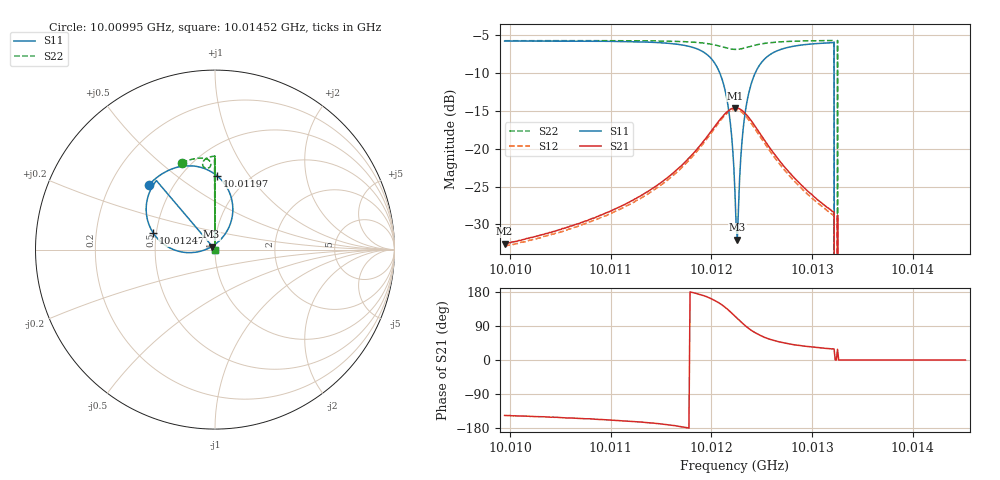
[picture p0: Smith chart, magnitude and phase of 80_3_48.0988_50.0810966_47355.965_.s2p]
#  HZ  S  RI  R  50.00
! Rohde & Schwarz Vector Network Analyzer
! Rohde-Schwarz,ZNB20-2Port,1311601062101988,3.16
! Created: UTC 12/23/2023, 3:42:40 AM
! freq[Hz]  re:S11  im:S11  re:S21  im:S21  re:S12  im:S12  re:S22  im:S22
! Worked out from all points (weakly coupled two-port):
!   401 points, 10.00995 GHz to 10.01452 GHz, reference 50 ohm
!   highest |S21| = -14.59 dB at 10.01223 GHz (marker M1); lowest = -32.6 dB at 10.00995 GHz (marker M2)
!   lowest |S11| = -32.0 dB at 10.01226 GHz (marker M3), VSWR 1.05, Z = 48.1 + j1.6 ohm
!   |S11| at or under -10 dB: 10.01208 GHz to 10.01243 GHz (350.2 kHz wide, 0.0035 % of centre); 10.01322 GHz to end of sweep
!   |S22| runs from - to -5.7 dB; largest |S21 - S12| = 0.0089
!   S11 on the Smith chart (normalised r, x): 10.00995 GHz: 0.37, +0.36; 10.01197 GHz: 0.72, +0.72; 10.01247 GHz: 0.48, +0.10; 10.01452 GHz: 1.00, +0.00
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1.0009947e10  -0.368 0.362  -0.0196 -0.0131  -0.0182 -0.0134  -0.1847 0.4847
1.0010713e10  -0.3122 0.4103  -0.0294 -0.014  -0.0276 -0.0148  -0.1353 0.5013
1.001148e10  -0.2053 0.4601  -0.0572 -0.012  -0.0543 -0.0143  -0.0787 0.5105
1.0011971e10  0.00989 0.4122  -0.1196 0.0319  -0.1176 0.0248  -0.0302 0.4945
1.0012086e10  0.0866 0.3025  -0.1338 0.0806  -0.1344 0.0721  -0.023 0.4767
1.0012154e10  0.0968 0.1887  -0.1244 0.1235  -0.1267 0.1156  -0.0267 0.463
1.00122e10  0.067 0.1035  -0.1036 0.1521  -0.1074 0.1444  -0.0344 0.4555
1.0012234e10  0.0212 0.0462  -0.0804 0.1683  -0.0848 0.1614  -0.0421 0.4527
1.0012257e10  -0.0188 0.0166  -0.0629 0.175  -0.0666 0.1686  -0.0479 0.4525
1.0012303e10  -0.109 -0.0149  -0.0264 0.1776  -0.031 0.1716  -0.0582 0.4561
1.0012337e10  -0.1765 -0.0147  -0.000772 0.1712  -0.00598 0.1655  -0.064 0.4616
1.0012395e10  -0.2675 0.0181  0.0303 0.1507  0.0243 0.1457  -0.0687 0.4728
1.0012475e10  -0.3431 0.0907  0.0514 0.1176  0.0459 0.114  -0.0671 0.4869
1.0013001e10  -0.3514 0.3474  0.041 0.0279  0.0374 0.0283  -0.0203 0.5182
1.0013195e10  -0.3291 0.3812  0.0338 0.019  0.0312 0.0198  -0.0048 0.5205
1.0013218e10  -0.3265 0.3844  0.0332 0.0184  0.0306 0.0191  -0.00299 0.5206
1.0013229e10  0 0  0 0  0 0  0 0
1.0013252e10  0 0  0.0321 0.0172  0.0297 0.018  -0.00023 0.5209
1.0013275e10  0 0  0 0  0 0  0 0
1.0013287e10  0 0  0 0  0 0  0 0
1.0013767e10  0 0  0 0  0 0  0 0
1.0014522e10  0 0  0 0  0 0  0 0
